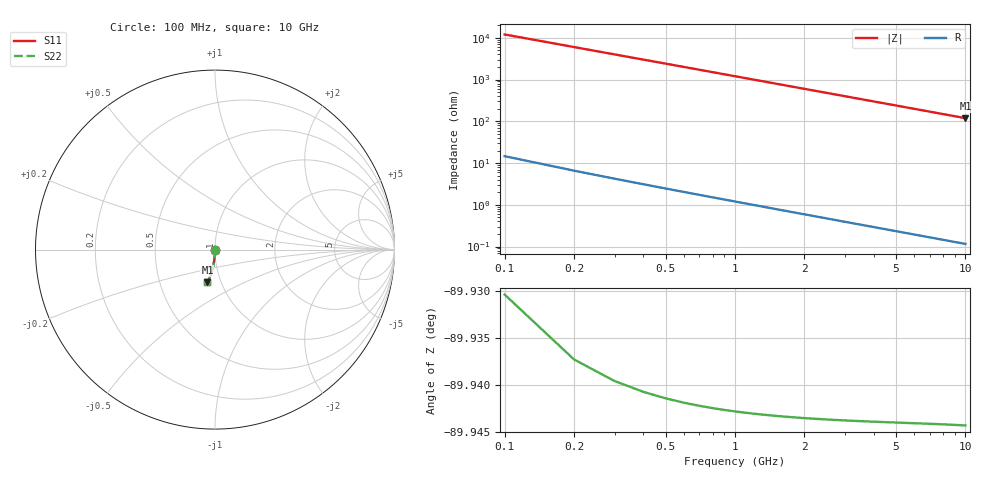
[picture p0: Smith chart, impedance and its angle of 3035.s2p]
# Hz S RI R 50.00
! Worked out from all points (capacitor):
!   100 points, 100 MHz to 10 GHz, reference 50 ohm
!   read as one part in shunt: C = 132 fF near 100 MHz
!   lowest |Z| = 119 ohm at 10 GHz (marker M1)
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1e8  3.5e-05 -0.00189  1 -0.00226  1 -0.00226  3.5e-05 -0.00189
2e8  2.05e-05 -0.00378  0.9999 -0.00452  0.9999 -0.00452  2.05e-05 -0.00378
3e8  -2.73e-06 -0.00568  0.9999 -0.00678  0.9999 -0.00678  -2.73e-06 -0.00568
4e8  -3.45e-05 -0.00757  0.9999 -0.00904  0.9999 -0.00904  -3.45e-05 -0.00757
5e8  -7.49e-05 -0.00946  0.9998 -0.0113  0.9998 -0.0113  -7.49e-05 -0.00946
6e8  -0.000124 -0.0114  0.9998 -0.0136  0.9998 -0.0136  -0.000124 -0.0114
7e8  -0.000181 -0.0132  0.9997 -0.0158  0.9997 -0.0158  -0.000181 -0.0132
8e8  -0.000248 -0.0151  0.9997 -0.0181  0.9997 -0.0181  -0.000248 -0.0151
9e8  -0.000322 -0.017  0.9996 -0.0203  0.9996 -0.0203  -0.000322 -0.017
1.1e9  -0.000497 -0.0208  0.9994 -0.0249  0.9994 -0.0249  -0.000497 -0.0208
1.4e9  -0.000825 -0.0265  0.9991 -0.0317  0.9991 -0.0317  -0.000825 -0.0265
1.8e9  -0.00138 -0.0341  0.9985 -0.0407  0.9985 -0.0407  -0.00138 -0.0341
2.1e9  -0.00189 -0.0397  0.998 -0.0475  0.998 -0.0475  -0.00189 -0.0397
2.5e9  -0.00269 -0.0473  0.9972 -0.0565  0.9972 -0.0565  -0.00269 -0.0473
2.9e9  -0.00362 -0.0548  0.9962 -0.0656  0.9962 -0.0656  -0.00362 -0.0548
3.4e9  -0.00498 -0.0642  0.9948 -0.0768  0.9948 -0.0768  -0.00498 -0.0642
4.2e9  -0.00761 -0.0792  0.9922 -0.0948  0.9922 -0.0948  -0.00761 -0.0792
5.1e9  -0.0112 -0.096  0.9885 -0.1149  0.9885 -0.1149  -0.0112 -0.096
5.9e9  -0.015 -0.1107  0.9847 -0.1327  0.9847 -0.1327  -0.015 -0.1107
6.7e9  -0.0193 -0.1252  0.9803 -0.1503  0.9803 -0.1503  -0.0193 -0.1252
8.4e9  -0.0301 -0.1555  0.9693 -0.187  0.9693 -0.187  -0.0301 -0.1555
1e10  -0.0423 -0.1829  0.9569 -0.2206  0.9569 -0.2206  -0.0423 -0.1829
